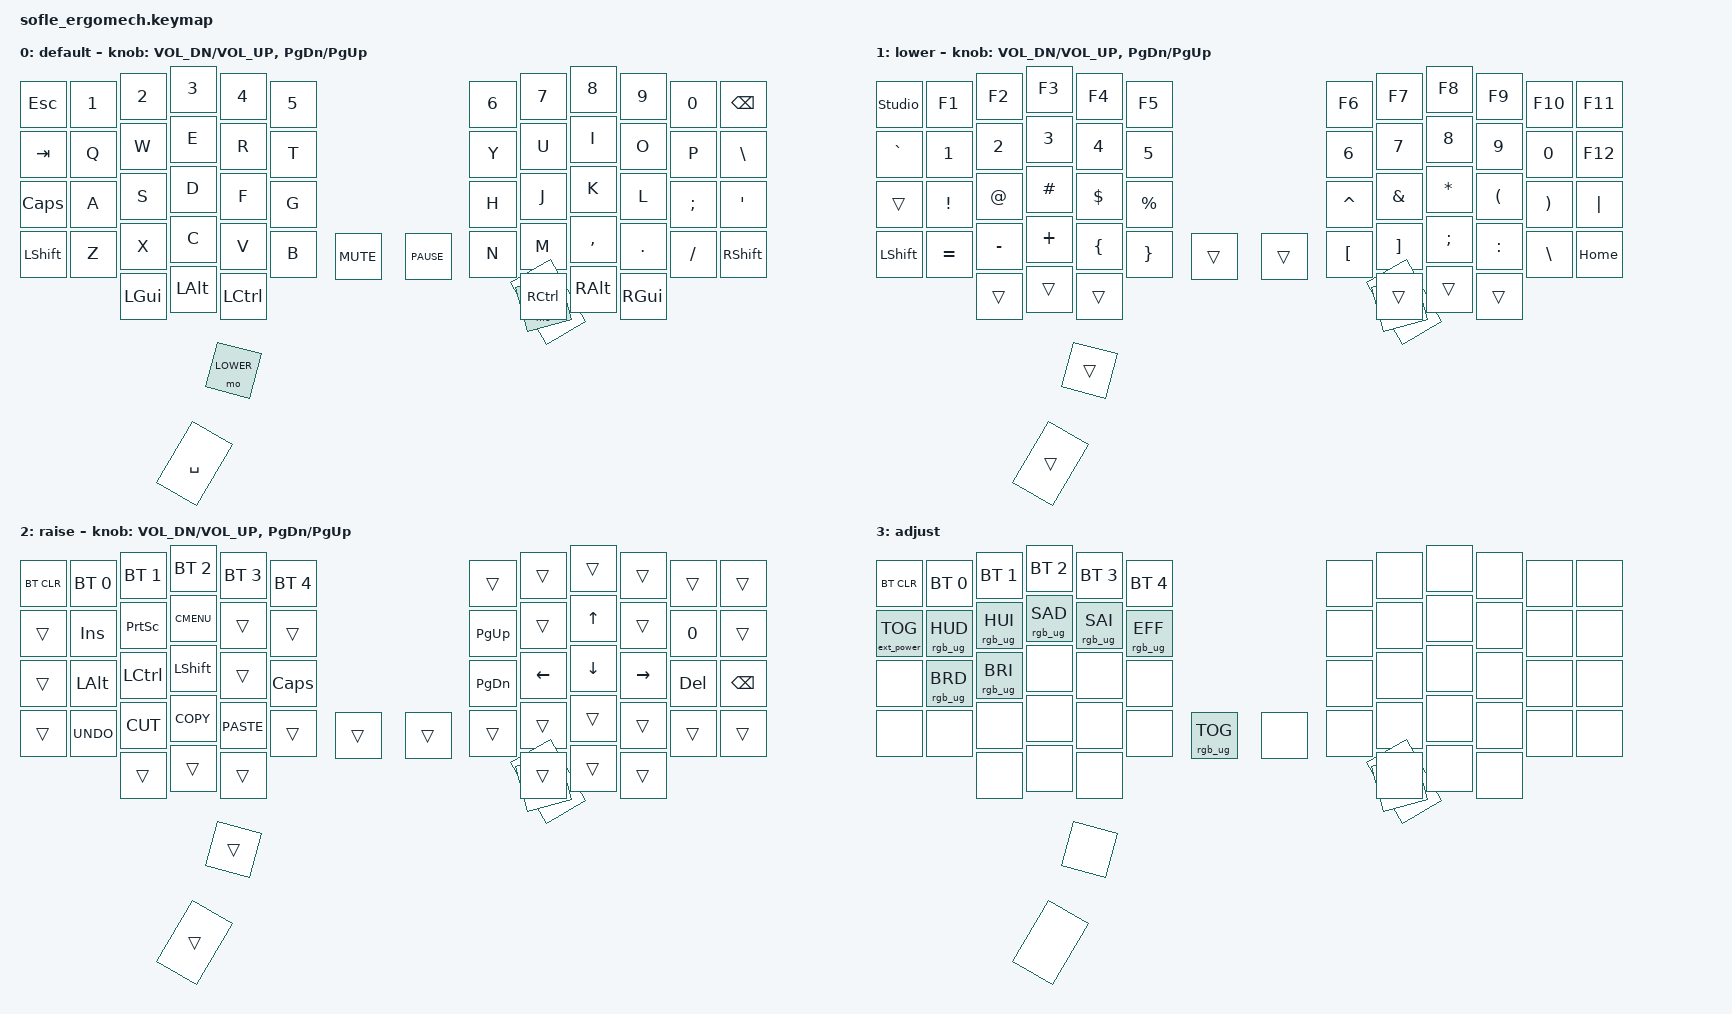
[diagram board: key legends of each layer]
/*
 * Copyright (c) 2020 The ZMK Contributors
 *
 * SPDX-License-Identifier: MIT
 */

#include <behaviors.dtsi>
#include <dt-bindings/zmk/bt.h>
#include <dt-bindings/zmk/ext_power.h>
#include <dt-bindings/zmk/keys.h>
#include <dt-bindings/zmk/rgb.h>

#define BASE 0
#define LOWER 1
#define RAISE 2
#define ADJUST 3

/ {
    // Activate ADJUST layer by pressing raise and lower

    conditional_layers {
        compatible = "zmk,conditional-layers";

        adjust_layer {
            if-layers = <LOWER RAISE>;
            then-layer = <ADJUST>;
        };
    };

    behaviors {
        rot_kp: sensor_rotate_kp {
            compatible = "zmk,behavior-sensor-rotate-var";
            #sensor-binding-cells = <2>;
            bindings = <&kp>, <&kp>;
        };
    };

    keymap {
        compatible = "zmk,keymap";

        default_layer {
            label = "default";

            // ------------------------------------------------------------------------------------------------------------
            // |   `   |  1  |  2  |  3   |  4   |  5   |                   |  6   |  7    |  8    |  9   |   0   |       |
            // |  ESC  |  Q  |  W  |  E   |  R   |  T   |                   |  Y   |  U    |  I    |  O   |   P   | BKSPC |
            // |  TAB  |  A  |  S  |  D   |  F   |  G   |                   |  H   |  J    |  K    |  L   |   ;   |   '   |
            // | SHIFT |  Z  |  X  |  C   |  V   |  B   |  MUTE  |  |       |  N   |  M    |  ,    |  .   |   /   | SHIFT |
            //               | GUI | ALT  | CTRL | LOWER|  ENTER |  | SPACE | RAISE| CTRL  | ALT   | GUI  |

            bindings = <
&kp ESCAPE  &kp N1    &kp N2    &kp N3     &kp N4     &kp N5     &kp N6      &kp N7     &kp N8     &kp N9    &kp N0    &kp BACKSPACE
&kp TAB     &kp Q     &kp W     &kp E      &kp R      &kp T      &kp Y       &kp U      &kp I      &kp O     &kp P     &kp BACKSLASH
&kp CLCK    &kp A     &kp S     &kp D      &kp F      &kp G      &kp H       &kp J      &kp K      &kp L     &kp SEMI  &kp SQT
&kp LSHFT   &kp Z     &kp X     &kp C      &kp V      &kp B      &kp N       &kp M      &kp COMMA  &kp DOT   &kp FSLH  &kp RSHFT
&kp C_MUTE  &kp LGUI  &kp LALT  &kp LCTRL  &mo LOWER  &kp SPACE  &kp RETURN  &mo RAISE  &kp RCTRL  &kp RALT  &kp RGUI  &kp C_PAUSE
            >;

            sensor-bindings =
                <&rot_kp C_VOL_DN C_VOL_UP>,
                <&rot_kp PAGE_DOWN PAGE_UP>;
        };

        lower_layer {
            label = "lower";

            // TODO: Some binds are waiting for shifted keycode support.
            // ------------------------------------------------------------------------------------------------------------
            // |       |  F1 |  F2 |  F3  |  F4  |  F5  |                   |  F6  |  F7   |  F8   |  F9  |  F10  |  F11  |
            // |   `   |  1  |  2  |  3   |  4   |  5   |                   |  6   |  7    |  8    |  9   |   0   |  F12  |
            // |       |  !  |  @  |  #   |  $   |  %   |                   |  ^   |  &    |  *    |  (   |   )   |   |   |
            // |       |  =  |  -  |  +   |  {   |  }   |        |  |       |  [   |  ]    |  ;    |  :   |   \   |       |
            //               |     |      |      |      |        |  |       |      |       |       |      |

            bindings = <
&studio_unlock  &kp F1     &kp F2     &kp F3    &kp F4    &kp F5     &kp F6     &kp F7    &kp F8     &kp F9     &kp F10   &kp F11
&kp GRAVE       &kp N1     &kp N2     &kp N3    &kp N4    &kp N5     &kp N6     &kp N7    &kp N8     &kp N9     &kp N0    &kp F12
&trans          &kp EXCL   &kp AT     &kp HASH  &kp DLLR  &kp PRCNT  &kp CARET  &kp AMPS  &kp ASTRK  &kp LPAR   &kp RPAR  &kp PIPE
&kp LEFT_SHIFT  &kp EQUAL  &kp MINUS  &kp PLUS  &kp LBRC  &kp RBRC   &kp LBKT   &kp RBKT  &kp SEMI   &kp COLON  &kp BSLH  &kp HOME
&trans          &trans     &trans     &trans    &trans    &trans     &trans     &trans    &trans     &trans     &trans    &trans
            >;

            sensor-bindings = <&rot_kp C_VOL_DN C_VOL_UP &rot_kp PG_DN PG_UP>;
        };

        raise_layer {
            label = "raise";

            // ------------------------------------------------------------------------------------------------------------
            // | BTCLR | BT1  | BT2  |  BT3  |  BT4  |  BT5 |                |      |      |       |      |       |       |
            // |       | INS  | PSCR | GUI   |       |      |                | PGUP |      |   ^   |      |       |       |
            // |       | ALT  | CTRL | SHIFT |       | CAPS |                | PGDN |   <- |   v   |  ->  |  DEL  | BKSPC |
            // |       | UNDO | CUT  | COPY  | PASTE |      |      |  |      |      |      |       |      |       |       |
            //                |      |       |       |      |      |  |      |      |      |       |      |

            bindings = <
&bt BT_CLR  &bt BT_SEL 0  &bt BT_SEL 1  &bt BT_SEL 2  &bt BT_SEL 3  &bt BT_SEL 4  &trans     &trans    &trans    &trans     &trans   &trans
&trans      &kp INS       &kp PSCRN     &kp K_CMENU   &trans        &trans        &kp PG_UP  &trans    &kp UP    &trans     &kp N0   &trans
&trans      &kp LALT      &kp LCTRL     &kp LSHFT     &trans        &kp CLCK      &kp PG_DN  &kp LEFT  &kp DOWN  &kp RIGHT  &kp DEL  &kp BSPC
&trans      &kp K_UNDO    &kp K_CUT     &kp K_COPY    &kp K_PASTE   &trans        &trans     &trans    &trans    &trans     &trans   &trans
&trans      &trans        &trans        &trans        &trans        &trans        &trans     &trans    &trans    &trans     &trans   &trans
            >;

            sensor-bindings = <&rot_kp C_VOL_DN C_VOL_UP &rot_kp PG_DN PG_UP>;
        };

        adjust_layer {
            // ----------------------------------------------------------------------------------------------------------------------------
            // | BTCLR  |  BT1    |  BT2    |   BT3   |   BT4   |   BT5   |                  |      |      |       |      |       |       |
            // | EXTPWR | RGB_HUD | RGB_HUI | RGB_SAD | RGB_SAI | RGB_EFF |                  |      |      |       |      |       |       |
            // |        | RGB_BRD | RGB_BRI |         |         |         |                  |      |      |       |      |       |       |
            // |        |         |         |         |         |         | RGB_TOG | |      |      |      |       |      |       |       |
            //                    |         |         |         |         |         | |      |      |      |       |      |

            label = "adjust";
            bindings = <
&bt BT_CLR         &bt BT_SEL 0     &bt BT_SEL 1     &bt BT_SEL 2     &bt BT_SEL 3     &bt BT_SEL 4     &none  &none  &none  &none  &none  &none
&ext_power EP_TOG  &rgb_ug RGB_HUD  &rgb_ug RGB_HUI  &rgb_ug RGB_SAD  &rgb_ug RGB_SAI  &rgb_ug RGB_EFF  &none  &none  &none  &none  &none  &none
&none              &rgb_ug RGB_BRD  &rgb_ug RGB_BRI  &none            &none            &none            &none  &none  &none  &none  &none  &none
&none              &none            &none            &none            &none            &none            &none  &none  &none  &none  &none  &none
&rgb_ug RGB_TOG    &none            &none            &none            &none            &none            &none  &none  &none  &none  &none  &none
            >;
        };
    };
};
